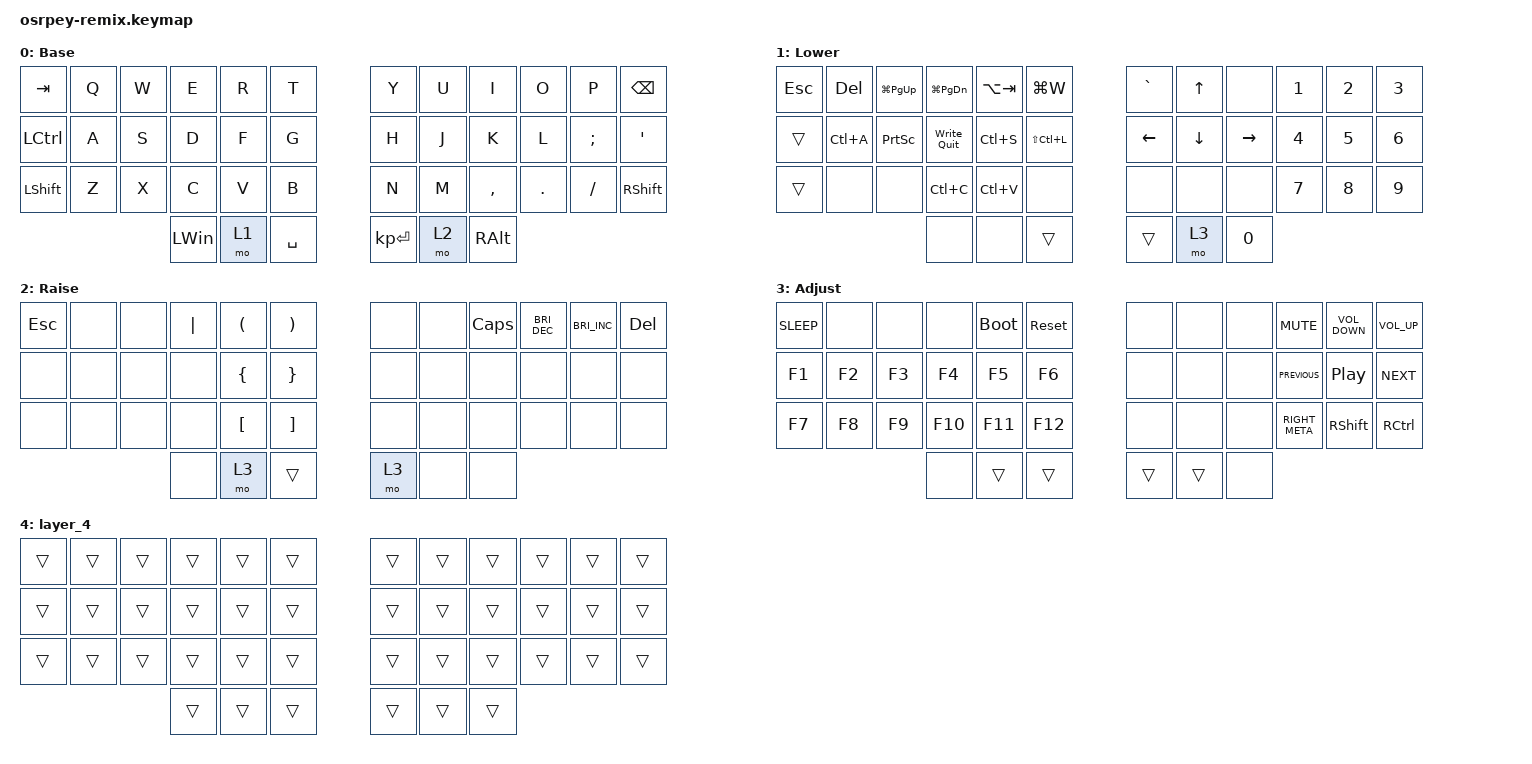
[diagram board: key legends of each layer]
#include <behaviors.dtsi>
#include <dt-bindings/zmk/keys.h>

&mt {
    flavor = "balanced";
    tapping-term-ms = <250>;
};

/ {
    combos {
        compatible = "zmk,combos";

        print_screen {
            bindings = <&kp PRINTSCREEN>;
            key-positions = <25 26 27>;
        };

        equal {
            bindings = <&kp EQUAL>;
            key-positions = <18 19>;
        };

        minus2 {
            bindings = <&kp MINUS>;
            key-positions = <17 16>;
        };

        underscore {
            bindings = <&kp UNDER>;
            key-positions = <16 15>;
        };

        Backslash {
            bindings = <&kp BACKSLASH>;
            key-positions = <33 34>;
        };
    };

    macros {
        Write_Quit: Task_View {
            compatible = "zmk,behavior-macro";
            #binding-cells = <0>;
            bindings = <&kp ESCAPE &kp COLON &kp W &kp Q>;
            label = "TASK_VIEW";
        };
    };

    keymap {
        compatible = "zmk,keymap";

        default_layer {
            display-name = "Base";
            bindings = <
&kp TAB         &kp Q  &kp W  &kp E         &kp R  &kp T      &kp Y         &kp U  &kp I          &kp O    &kp P     &kp BACKSPACE
&kp LCTRL       &kp A  &kp S  &kp D         &kp F  &kp G      &kp H         &kp J  &kp K          &kp L    &kp SEMI  &kp SQT
&kp LEFT_SHIFT  &kp Z  &kp X  &kp C         &kp V  &kp B      &kp N         &kp M  &kp COMMA      &kp DOT  &kp FSLH  &kp RSHFT
                              &kp LEFT_WIN  &mo 1  &kp SPACE  &kp KP_ENTER  &mo 2  &kp RIGHT_ALT
            >;
        };

        lower_layer {
            display-name = "Lower";
            bindings = <
&kp ESCAPE  &kp DELETE  &kp LG(PAGE_UP)  &kp LG(PAGE_DOWN)  &kp LA(TAB)  &kp LG(W)      &kp GRAVE  &kp UP_ARROW  &none      &kp N1  &kp N2  &kp NUMBER_3
&trans      &kp LC(A)   &kp PRINTSCREEN  &Write_Quit        &kp LC(S)    &kp LS(LC(L))  &kp LEFT   &kp DOWN      &kp RIGHT  &kp N4  &kp N5  &kp N6
&trans      &none       &none            &kp LC(C)          &kp LC(V)    &none          &none      &none         &none      &kp N7  &kp N8  &kp N9
                                         &none              &none        &trans         &trans     &mo 3         &kp N0
            >;
        };

        raise_layer {
            display-name = "Raise";
            bindings = <
&kp ESCAPE  &none  &none  &kp PIPE  &kp LEFT_PARENTHESIS  &kp RIGHT_PARENTHESIS  &none  &none  &kp CAPSLOCK  &kp C_BRIGHTNESS_DEC  &kp C_BRIGHTNESS_INC  &kp DELETE
&none       &none  &none  &none     &kp LEFT_BRACE        &kp RIGHT_BRACE        &none  &none  &none         &none                 &none                 &none
&none       &none  &none  &none     &kp LEFT_BRACKET      &kp RIGHT_BRACKET      &none  &none  &none         &none                 &none                 &none
                          &none     &mo 3                 &trans                 &mo 3  &none  &none
            >;
        };

        adjust_layer {
            display-name = "Adjust";
            bindings = <
&kp C_SLEEP  &none   &none   &none    &bootloader  &sys_reset  &none   &none   &none  &kp C_MUTE      &kp C_VOLUME_DOWN  &kp C_VOLUME_UP
&kp F1       &kp F2  &kp F3  &kp F4   &kp F5       &kp F6      &none   &none   &none  &kp C_PREVIOUS  &kp C_PLAY_PAUSE   &kp C_NEXT
&kp F7       &kp F8  &kp F9  &kp F10  &kp F11      &kp F12     &none   &none   &none  &kp RIGHT_META  &kp RIGHT_SHIFT    &kp RCTRL
                             &none    &trans       &trans      &trans  &trans  &none
            >;
        };

        layer_4 {
            bindings = <
&trans  &trans  &trans  &trans  &trans  &trans  &trans  &trans  &trans  &trans  &trans  &trans
&trans  &trans  &trans  &trans  &trans  &trans  &trans  &trans  &trans  &trans  &trans  &trans
&trans  &trans  &trans  &trans  &trans  &trans  &trans  &trans  &trans  &trans  &trans  &trans
                        &trans  &trans  &trans  &trans  &trans  &trans
            >;
        };
    };
};
